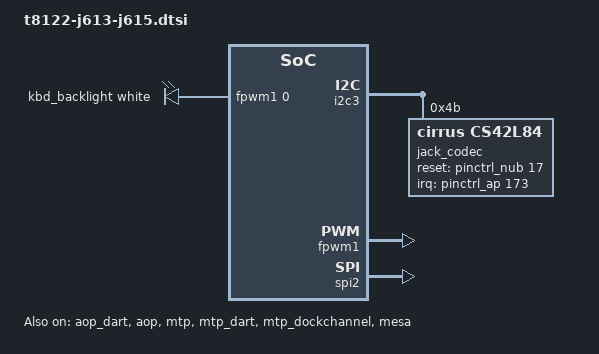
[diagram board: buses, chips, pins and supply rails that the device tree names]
// SPDX-License-Identifier: GPL-2.0+ OR MIT
/*
 * Apple MacBook Air (13-inch and 15-inch, M3, 2024)
 *
 * This file contains the parts common to J613 and J615 devices with t8122.
 *
 * target-type: J613, J615
 *
 * Copyright The Asahi Linux Contributors
 */

#include "t8122-usbpd-spmi.dtsi"
#include "t8122-jxxx.dtsi"
#include <dt-bindings/leds/common.h>
#include <dt-bindings/thermal/thermal.h>

/ {
	chassis-type = "laptop";

	aliases {
		dcpext = &dcpext;
		keyboard = &keyboard;
		sep = &sep;
	};

	led-controller {
		compatible = "pwm-leds";
		led-0 {
			pwms = <&fpwm1 0 40000>;
			label = "kbd_backlight";
			function = LED_FUNCTION_KBD_BACKLIGHT;
			color = <LED_COLOR_ID_WHITE>;
			max-brightness = <255>;
			default-state = "keep";
		};
	};
};

&aop_mbox {
	status = "okay";
};

&aop_dart {
	status = "okay";
};

&aop_admac {
	status = "okay";
};

&aop {
	status = "okay";
};

&aop_audio {
	apple,machine-kind = "MacBook Air";
};

&i2c3 {
	jack_codec: codec@4b {
		compatible = "cirrus,cs42l84";
		reg = <0x4b>;
		reset-gpios = <&pinctrl_nub 17 GPIO_ACTIVE_HIGH>;
		#sound-dai-cells = <0>;
		interrupts-extended = <&pinctrl_ap 173 IRQ_TYPE_LEVEL_LOW>;
		sound-name-prefix = "Jack";
	};
};

&fpwm1 {
	status = "okay";
};

&mtp {
	status = "okay";
};

&mtp_mbox {
	status = "okay";
};

&mtp_dart {
	status = "okay";
};

&mtp_dockchannel {
	status = "okay";
};

&mtp_hid {
	apple,afe-reset-gpios = <&smc_gpio 8 GPIO_ACTIVE_LOW>;
	apple,stm-reset-gpios = <&smc_gpio 24 GPIO_ACTIVE_LOW>;

	mtp_mt: multi-touch {
	};

	keyboard: keyboard {
		hid-country-code = <0>;
		apple,keyboard-layout-id = <0>;
	};

	stm {
	};

	actuator {
	};

	tp_accel {
	};
};

#include "isp-imx558-cfg0.dtsi"

&isp {
	apple,platform-id = <18>;
	apple,temporal-filter = <1>;
};

/* Touch ID; its data-ready line (AP GPIO 199) is left out, so it polls. */
&spi2 {
	status = "okay";
};

&mesa {
	status = "okay";
	enable-gpios = <&pinctrl_nub 29 GPIO_ACTIVE_HIGH>;
	spi-cs-setup-delay-ns = <20>;
	spi-cs-hold-delay-ns = <20>;
};

#include "hwmon-laptop.dtsi"

/*
 * One external display on either USB-C port: dcpext is crossbar state 2 of
 * each ATC and its DPTX target is the ATC index. The display gate enables it
 * and the routes once the boot loader has readied its firmware.
 */
&dcpext {
	apple,connector-type = "USB-C";
	phys = <&atcphy0 PHY_TYPE_DP>, <&atcphy1 PHY_TYPE_DP>;
	phy-names = "typec0", "typec1";
	mux-controls = <&atcphy0_xbar 0>, <&atcphy1_xbar 0>;
	mux-control-names = "typec0", "typec1";
	apple,typec-mux-indices = <2 2>;
	apple,typec-dptx-phys = <0 1>;
	/* RTKit quirks of AsahiLinux/linux#607 (syslog/ioreport acks, kdebug). */
	apple,sync-syslog-ack;

	typec-routes {
		#address-cells = <1>;
		#size-cells = <0>;

		route@0 {
			reg = <0>;
			mode-switch;
			status = "disabled";

			port {
				dcpext_typec0: endpoint {
					remote-endpoint = <&typec0_dcpext>;
				};
			};
		};

		route@1 {
			reg = <1>;
			mode-switch;
			status = "disabled";

			port {
				dcpext_typec1: endpoint {
					remote-endpoint = <&typec1_dcpext>;
				};
			};
		};
	};
};

&typec0 {
	ports {
		port@3 {
			reg = <3>;

			typec0_dcpext: endpoint {
				remote-endpoint = <&dcpext_typec0>;
			};
		};
	};
};

&typec1 {
	ports {
		port@3 {
			reg = <3>;

			typec1_dcpext: endpoint {
				remote-endpoint = <&dcpext_typec1>;
			};
		};
	};
};

/ {
	/*
	 * Fanless, same die and the same six CPU die sensors on both: every
	 * die sensor throttles both clusters, E weighted 3:1 and capped at
	 * state 3. Trips as on the J700; sustainable-power from J613 and J615
	 * load tests.
	 */
	thermal-zones {
		cpu-e0-thermal {
			polling-delay-passive = <500>;
			polling-delay = <500>;
			thermal-sensors = <&smc_hwmon 0>;	/* Te05 */
			sustainable-power = <6000>;

			trips {
				cpu_e0_alert: trip-alert {
					temperature = <58000>;
					hysteresis = <2000>;
					type = "passive";
				};

				cpu_e0_control: trip-control {
					temperature = <95000>;
					hysteresis = <2000>;
					type = "passive";
				};

				trip-critical {
					temperature = <110000>;
					hysteresis = <0>;
					type = "critical";
				};
			};

			cooling-maps {
				map0 {
					trip = <&cpu_e0_control>;
					cooling-device =
						<&cpu_p0 THERMAL_NO_LIMIT THERMAL_NO_LIMIT>,
						<&cpu_p1 THERMAL_NO_LIMIT THERMAL_NO_LIMIT>,
						<&cpu_p2 THERMAL_NO_LIMIT THERMAL_NO_LIMIT>,
						<&cpu_p3 THERMAL_NO_LIMIT THERMAL_NO_LIMIT>;
					contribution = <1024>;
				};

				map1 {
					trip = <&cpu_e0_control>;
					cooling-device =
						<&cpu_e0 THERMAL_NO_LIMIT 3>,
						<&cpu_e1 THERMAL_NO_LIMIT 3>,
						<&cpu_e2 THERMAL_NO_LIMIT 3>,
						<&cpu_e3 THERMAL_NO_LIMIT 3>;
					contribution = <3072>;
				};
			};
		};

		cpu-e1-thermal {
			polling-delay-passive = <500>;
			polling-delay = <500>;
			thermal-sensors = <&smc_hwmon 1>;	/* Te0P */
			sustainable-power = <6000>;

			trips {
				cpu_e1_alert: trip-alert {
					temperature = <58000>;
					hysteresis = <2000>;
					type = "passive";
				};

				cpu_e1_control: trip-control {
					temperature = <95000>;
					hysteresis = <2000>;
					type = "passive";
				};

				trip-critical {
					temperature = <110000>;
					hysteresis = <0>;
					type = "critical";
				};
			};

			cooling-maps {
				map0 {
					trip = <&cpu_e1_control>;
					cooling-device =
						<&cpu_p0 THERMAL_NO_LIMIT THERMAL_NO_LIMIT>,
						<&cpu_p1 THERMAL_NO_LIMIT THERMAL_NO_LIMIT>,
						<&cpu_p2 THERMAL_NO_LIMIT THERMAL_NO_LIMIT>,
						<&cpu_p3 THERMAL_NO_LIMIT THERMAL_NO_LIMIT>;
					contribution = <1024>;
				};

				map1 {
					trip = <&cpu_e1_control>;
					cooling-device =
						<&cpu_e0 THERMAL_NO_LIMIT 3>,
						<&cpu_e1 THERMAL_NO_LIMIT 3>,
						<&cpu_e2 THERMAL_NO_LIMIT 3>,
						<&cpu_e3 THERMAL_NO_LIMIT 3>;
					contribution = <3072>;
				};
			};
		};

		cpu-p0-thermal {
			polling-delay-passive = <500>;
			polling-delay = <500>;
			thermal-sensors = <&smc_hwmon 2>;	/* Tp05 */
			sustainable-power = <6000>;

			trips {
				cpu_p0_alert: trip-alert {
					temperature = <58000>;
					hysteresis = <2000>;
					type = "passive";
				};

				cpu_p0_control: trip-control {
					temperature = <95000>;
					hysteresis = <2000>;
					type = "passive";
				};

				trip-critical {
					temperature = <110000>;
					hysteresis = <0>;
					type = "critical";
				};
			};

			cooling-maps {
				map0 {
					trip = <&cpu_p0_control>;
					cooling-device =
						<&cpu_p0 THERMAL_NO_LIMIT THERMAL_NO_LIMIT>,
						<&cpu_p1 THERMAL_NO_LIMIT THERMAL_NO_LIMIT>,
						<&cpu_p2 THERMAL_NO_LIMIT THERMAL_NO_LIMIT>,
						<&cpu_p3 THERMAL_NO_LIMIT THERMAL_NO_LIMIT>;
					contribution = <1024>;
				};

				map1 {
					trip = <&cpu_p0_control>;
					cooling-device =
						<&cpu_e0 THERMAL_NO_LIMIT 3>,
						<&cpu_e1 THERMAL_NO_LIMIT 3>,
						<&cpu_e2 THERMAL_NO_LIMIT 3>,
						<&cpu_e3 THERMAL_NO_LIMIT 3>;
					contribution = <3072>;
				};
			};
		};

		cpu-p1-thermal {
			polling-delay-passive = <500>;
			polling-delay = <500>;
			thermal-sensors = <&smc_hwmon 3>;	/* Tp0L */
			sustainable-power = <6000>;

			trips {
				cpu_p1_alert: trip-alert {
					temperature = <58000>;
					hysteresis = <2000>;
					type = "passive";
				};

				cpu_p1_control: trip-control {
					temperature = <95000>;
					hysteresis = <2000>;
					type = "passive";
				};

				trip-critical {
					temperature = <110000>;
					hysteresis = <0>;
					type = "critical";
				};
			};

			cooling-maps {
				map0 {
					trip = <&cpu_p1_control>;
					cooling-device =
						<&cpu_p0 THERMAL_NO_LIMIT THERMAL_NO_LIMIT>,
						<&cpu_p1 THERMAL_NO_LIMIT THERMAL_NO_LIMIT>,
						<&cpu_p2 THERMAL_NO_LIMIT THERMAL_NO_LIMIT>,
						<&cpu_p3 THERMAL_NO_LIMIT THERMAL_NO_LIMIT>;
					contribution = <1024>;
				};

				map1 {
					trip = <&cpu_p1_control>;
					cooling-device =
						<&cpu_e0 THERMAL_NO_LIMIT 3>,
						<&cpu_e1 THERMAL_NO_LIMIT 3>,
						<&cpu_e2 THERMAL_NO_LIMIT 3>,
						<&cpu_e3 THERMAL_NO_LIMIT 3>;
					contribution = <3072>;
				};
			};
		};

		cpu-p2-thermal {
			polling-delay-passive = <500>;
			polling-delay = <500>;
			thermal-sensors = <&smc_hwmon 4>;	/* Tp0b */
			sustainable-power = <6000>;

			trips {
				cpu_p2_alert: trip-alert {
					temperature = <58000>;
					hysteresis = <2000>;
					type = "passive";
				};

				cpu_p2_control: trip-control {
					temperature = <95000>;
					hysteresis = <2000>;
					type = "passive";
				};

				trip-critical {
					temperature = <110000>;
					hysteresis = <0>;
					type = "critical";
				};
			};

			cooling-maps {
				map0 {
					trip = <&cpu_p2_control>;
					cooling-device =
						<&cpu_p0 THERMAL_NO_LIMIT THERMAL_NO_LIMIT>,
						<&cpu_p1 THERMAL_NO_LIMIT THERMAL_NO_LIMIT>,
						<&cpu_p2 THERMAL_NO_LIMIT THERMAL_NO_LIMIT>,
						<&cpu_p3 THERMAL_NO_LIMIT THERMAL_NO_LIMIT>;
					contribution = <1024>;
				};

				map1 {
					trip = <&cpu_p2_control>;
					cooling-device =
						<&cpu_e0 THERMAL_NO_LIMIT 3>,
						<&cpu_e1 THERMAL_NO_LIMIT 3>,
						<&cpu_e2 THERMAL_NO_LIMIT 3>,
						<&cpu_e3 THERMAL_NO_LIMIT 3>;
					contribution = <3072>;
				};
			};
		};

		cpu-p3-thermal {
			polling-delay-passive = <500>;
			polling-delay = <500>;
			thermal-sensors = <&smc_hwmon 5>;	/* Tp0r */
			sustainable-power = <6000>;

			trips {
				cpu_p3_alert: trip-alert {
					temperature = <58000>;
					hysteresis = <2000>;
					type = "passive";
				};

				cpu_p3_control: trip-control {
					temperature = <95000>;
					hysteresis = <2000>;
					type = "passive";
				};

				trip-critical {
					temperature = <110000>;
					hysteresis = <0>;
					type = "critical";
				};
			};

			cooling-maps {
				map0 {
					trip = <&cpu_p3_control>;
					cooling-device =
						<&cpu_p0 THERMAL_NO_LIMIT THERMAL_NO_LIMIT>,
						<&cpu_p1 THERMAL_NO_LIMIT THERMAL_NO_LIMIT>,
						<&cpu_p2 THERMAL_NO_LIMIT THERMAL_NO_LIMIT>,
						<&cpu_p3 THERMAL_NO_LIMIT THERMAL_NO_LIMIT>;
					contribution = <1024>;
				};

				map1 {
					trip = <&cpu_p3_control>;
					cooling-device =
						<&cpu_e0 THERMAL_NO_LIMIT 3>,
						<&cpu_e1 THERMAL_NO_LIMIT 3>,
						<&cpu_e2 THERMAL_NO_LIMIT 3>,
						<&cpu_e3 THERMAL_NO_LIMIT 3>;
					contribution = <3072>;
				};
			};
		};
	};
};
